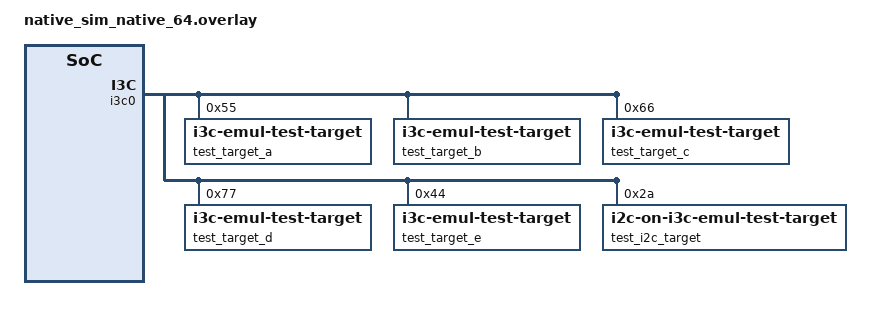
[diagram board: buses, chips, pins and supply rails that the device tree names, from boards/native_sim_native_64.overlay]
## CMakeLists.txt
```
# Copyright (c) 2026 Meta Platforms
# SPDX-License-Identifier: Apache-2.0

cmake_minimum_required(VERSION 3.20.0)
find_package(Zephyr REQUIRED HINTS $ENV{ZEPHYR_BASE})
project(i3c_emul)

target_sources(app PRIVATE
  src/test_core.c
  src/test_ccc.c
  src/test_target_emul.c
  src/i2c_test_target_emul.c
)
target_sources_ifdef(CONFIG_I3C_USE_IBI app PRIVATE src/test_ibi.c)
target_sources_ifdef(CONFIG_I3C_CALLBACK app PRIVATE src/test_async.c)
target_sources_ifdef(CONFIG_I3C_TARGET app PRIVATE
  src/test_target.c
  src/test_controller_handoff.c
)
target_include_directories(app PRIVATE src)
```

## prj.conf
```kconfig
# Copyright (c) 2026 Meta Platforms
# SPDX-License-Identifier: Apache-2.0

CONFIG_ZTEST=y
CONFIG_I2C=y
CONFIG_I2C_EMUL=y
CONFIG_I3C=y
CONFIG_I3C_DUAL_ROLE=y
CONFIG_I3C_USE_IBI=y
CONFIG_I3C_IBI_WORKQUEUE=y
CONFIG_I3C_IBI_MAX_PAYLOAD_SIZE=8
CONFIG_I3C_CALLBACK=y
CONFIG_I3C_RTIO=y
CONFIG_I3C_EMUL=y
CONFIG_EMUL=y
CONFIG_RTIO=y

# Heap for k_malloc — i3c_emul's broadcast DEFTGTS handler does
# k_malloc(payload->ccc.data_len) to stash a deep copy used by the
# handoff path. Without an explicit pool the default of 0 makes
# k_malloc return NULL and DEFTGTS-dependent tests fail.
CONFIG_HEAP_MEM_POOL_SIZE=4096
```

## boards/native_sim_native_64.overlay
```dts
/*
 * Copyright (c) 2026 Meta Platforms
 * SPDX-License-Identifier: Apache-2.0
 */

&i3c0 {
	/*
	 * Self-DA for the bus controller's target-mode endpoint.
	 * Intentionally equal to target_a's DA (which DAA assigns to
	 * 0x55 from its static_addr). The target-mode handoff tests
	 * use this aliasing: i3c_target_register() takes precedence
	 * over the peripheral, so GETACCCR addressed to peripheral A
	 * (via i3c_device_controller_handoff(desc_a, ...)) routes to
	 * the registered target_cfg in the test instead.
	 */
	primary-controller-da = <0x55>;

	test_target_a: target_a@550000123412345678 {
		compatible = "zephyr,i3c-emul-test-target";
		reg = <0x55 0x1234 0x12345678>;
		bcr = <0x00>;
		dcr = <0x6c>;
	};

	test_target_b: target_b@5678abcdef01 {
		compatible = "zephyr,i3c-emul-test-target";
		reg = <0x00 0x5678 0xabcdef01>;
		assigned-address = <0x42>;
		bcr = <0x00>;
		dcr = <0x6c>;
	};

	/*
	 * SETAASA-capable target. Has a static_addr and the
	 * supports-setaasa flag, so i3c_bus_init issues SETAASA
	 * (instead of SETDASA) and the peripheral self-assigns
	 * static_addr -> dynamic_addr in response.
	 */
	test_target_c: target_c@660000111222334455 {
		compatible = "zephyr,i3c-emul-test-target";
		reg = <0x66 0x1112 0x22334455>;
		supports-setaasa;
		bcr = <0x00>;
		dcr = <0x6c>;
	};

	/*
	 * HDR-DDR-capable target. BCR bit 5 (Advanced Capabilities)
	 * is set so the controller knows GETCAPS / HDR are supported.
	 * supports-hdr-ddr makes the peripheral advertise the bit in
	 * its GETCAPS Format 1 response and accept HDR-DDR private
	 * xfers (after the controller broadcasts ENTHDR0).
	 */
	test_target_d: target_d@7700009999aabbccdd {
		compatible = "zephyr,i3c-emul-test-target";
		reg = <0x77 0x9999 0xaabbccdd>;
		supports-hdr-ddr;
		bcr = <0x20>;
		dcr = <0x6c>;
	};

	/*
	 * Advanced-capabilities target that does NOT support HDR-DDR.
	 * BCR bit 5 is set (so a controller knows GETCAPS is meaningful),
	 * but the GETCAPS response carries no HDR-mode bits. Used to
	 * verify the bus emulator gates HDR-DDR on the cached GETCAPS
	 * bit and not just BCR.
	 */
	test_target_e: target_e@440000111122334456 {
		compatible = "zephyr,i3c-emul-test-target";
		reg = <0x44 0x1111 0x22334456>;
		bcr = <0x20>;
		dcr = <0x6c>;
	};

	/*
	 * Legacy-I2C-on-I3C peripheral. reg = <addr 0 lvr> per the
	 * i3c subsystem's i2c-device convention; the bus emulator
	 * routes its i2c_api.transfer to this node's standard
	 * struct i2c_emul, same as an i2c sensor emul would under
	 * a zephyr,i2c-emul-controller parent.
	 */
	test_i2c_target: i2c-target@2a0000000000000000 {
		compatible = "zephyr,i2c-on-i3c-emul-test-target";
		reg = <0x2a 0x00 0x00>;
	};
};
```

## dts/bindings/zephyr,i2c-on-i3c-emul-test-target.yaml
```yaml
# Copyright (c) 2026 Meta Platforms
# SPDX-License-Identifier: Apache-2.0

description: |
  Synthetic legacy-I2C peripheral that hangs off a
  zephyr,i3c-emul bus, used to verify the I3C emulator's
  i2c_api.transfer routes to a standard struct i2c_emul peripheral
  the same way an in-tree i2c sensor emul (BMI160, AKM09918C, ...)
  would when reparented under an I3C bus.

  reg follows the i3c subsystem's i2c-device convention:
  reg = <addr 0 lvr>. The middle zero is what
  I3C_I2C_DEVICE_DESC_DT_FILTERED looks at to flag this as a legacy
  I2C device.

compatible: "zephyr,i2c-on-i3c-emul-test-target"

include: i2c-device.yaml
```

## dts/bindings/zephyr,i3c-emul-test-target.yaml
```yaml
# Copyright (c) 2026 Meta Platforms
# SPDX-License-Identifier: Apache-2.0

description: |
  Synthetic I3C peripheral used by tests/drivers/i3c/i3c_emul to exercise the
  Zephyr I3C emulator. The peripheral lives entirely inside the test directory
  and exposes a 32-byte register file plus configurable PID/BCR/DCR.

compatible: "zephyr,i3c-emul-test-target"

include: i3c-device.yaml

properties:
  bcr:
    type: int
    default: 0

  dcr:
    type: int
    default: 0

  supports-hdr-ddr:
    type: boolean
    description: |
      The synthetic peripheral advertises HDR-DDR support in its
      GETCAPS Format 1 response and accepts HDR-DDR private xfers.
```

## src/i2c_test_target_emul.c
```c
/*
 * Copyright (c) 2026 Meta Platforms
 *
 * SPDX-License-Identifier: Apache-2.0
 *
 * Tiny legacy-i2c-on-i3c peripheral emulator. Uses the standard
 * struct i2c_emul_api shape that any in-tree i2c sensor emul (BMI160,
 * AKM09918C, ...) implements. This proves an existing i2c emul sensor
 * can be reparented from a zephyr,i2c-emul-controller to a
 * zephyr,i3c-emul without any sensor-side changes.
 */

#define DT_DRV_COMPAT zephyr_i2c_on_i3c_emul_test_target

#include <zephyr/device.h>
#include <zephyr/drivers/emul.h>
#include <zephyr/drivers/i2c.h>
#include <zephyr/drivers/i2c_emul.h>

#include <string.h>

#include "i2c_test_target_emul.h"

#define I2C_TEST_TARGET_REG_SIZE 16U

struct i2c_test_target_data {
	uint8_t regs[I2C_TEST_TARGET_REG_SIZE];
	uint8_t cursor;
};

static int i2c_test_target_transfer(const struct emul *target, struct i2c_msg *msgs,
				    int num_msgs, int addr)
{
	struct i2c_test_target_data *data = target->data;

	ARG_UNUSED(addr);

	for (int i = 0; i < num_msgs; i++) {
		struct i2c_msg *m = &msgs[i];

		if ((m->flags & I2C_MSG_RW_MASK) == I2C_MSG_READ) {
			for (uint32_t j = 0; j < m->len; j++) {
				m->buf[j] = data->regs[data->cursor];
				data->cursor = (data->cursor + 1U) % I2C_TEST_TARGET_REG_SIZE;
			}
		} else {
			if (m->len == 0U) {
				continue;
			}
			data->cursor = m->buf[0] % I2C_TEST_TARGET_REG_SIZE;
			for (uint32_t j = 1; j < m->len; j++) {
				data->regs[data->cursor] = m->buf[j];
				data->cursor = (data->cursor + 1U) % I2C_TEST_TARGET_REG_SIZE;
			}
		}
	}

	return 0;
}

static const struct i2c_emul_api i2c_test_target_api = {
	.transfer = i2c_test_target_transfer,
};

uint8_t i2c_test_target_get_reg(const struct emul *target, uint8_t idx)
{
	struct i2c_test_target_data *data = target->data;

	return data->regs[idx % I2C_TEST_TARGET_REG_SIZE];
}

static int i2c_test_target_init(const struct emul *target, const struct device *parent)
{
	ARG_UNUSED(target);
	ARG_UNUSED(parent);
	return 0;
}

#define I2C_TEST_TARGET_INIT(n)                                                                    \
	static struct i2c_test_target_data i2c_test_target_data_##n;                               \
	DEVICE_DT_INST_DEFINE(n, NULL, NULL, &i2c_test_target_data_##n, NULL, POST_KERNEL,         \
			      CONFIG_APPLICATION_INIT_PRIORITY, NULL);                             \
	EMUL_DT_INST_DEFINE(n, i2c_test_target_init, &i2c_test_target_data_##n, NULL,              \
			    &i2c_test_target_api, NULL);

DT_INST_FOREACH_STATUS_OKAY(I2C_TEST_TARGET_INIT)
```

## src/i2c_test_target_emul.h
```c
/*
 * Copyright (c) 2026 Meta Platforms
 *
 * SPDX-License-Identifier: Apache-2.0
 */
#ifndef TEST_DRIVERS_I3C_I3C_EMUL_I2C_TEST_TARGET_EMUL_H_
#define TEST_DRIVERS_I3C_I3C_EMUL_I2C_TEST_TARGET_EMUL_H_

#include <stdint.h>

#include <zephyr/drivers/emul.h>

uint8_t i2c_test_target_get_reg(const struct emul *target, uint8_t idx);

#endif /* TEST_DRIVERS_I3C_I3C_EMUL_I2C_TEST_TARGET_EMUL_H_ */
```

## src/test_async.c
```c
/*
 * Copyright (c) 2026 Meta Platforms
 *
 * SPDX-License-Identifier: Apache-2.0
 *
 * M4 async + RTIO tests for the I3C emulator.
 */

#include <zephyr/devicetree.h>
#include <zephyr/drivers/emul.h>
#include <zephyr/drivers/i3c.h>
#include <zephyr/drivers/i3c/ccc.h>
#include <zephyr/drivers/i3c_emul.h>
#include <zephyr/kernel.h>
#include <zephyr/rtio/rtio.h>
#include <zephyr/sys/byteorder.h>
#include <zephyr/ztest.h>

#include "test_target_emul.h"

#define I3C_BUS DT_NODELABEL(i3c0)
#define TARGET_A DT_NODELABEL(test_target_a)

#define TARGET_A_PID	TEST_TARGET_A_PID

static const struct device *bus = DEVICE_DT_GET(I3C_BUS);

static struct i3c_device_desc *find_desc(uint64_t pid)
{
	struct i3c_device_id id = { .pid = pid };

	return i3c_device_find(bus, &id);
}

static void *i3c_emul_async_setup(void)
{
	int rc = test_target_bus_known_state(bus, TEST_TARGET_A_PID, TEST_TARGET_A_STATIC,
					     TEST_TARGET_B_PID, TEST_TARGET_B_INIT_DA);

	zassert_ok(rc, "test_target_bus_known_state: %d", rc);
	return NULL;
}

#ifdef CONFIG_I3C_CALLBACK
static struct {
	struct k_sem sem;
	int result;
	void *userdata;
	const struct device *dev;
} g_cb;

static void async_cb(const struct device *dev, int result, void *userdata)
{
	g_cb.dev = dev;
	g_cb.result = result;
	g_cb.userdata = userdata;
	k_sem_give(&g_cb.sem);
}

ZTEST(i3c_emul_async, test_xfers_cb_fires_on_completion)
{
	struct i3c_device_desc *desc = find_desc(TARGET_A_PID);
	uint8_t buf[3] = {0x00, 0xAB, 0xCD};
	struct i3c_msg msg = {
		.buf = buf,
		.len = sizeof(buf),
		.flags = I3C_MSG_WRITE | I3C_MSG_STOP,
	};
	uint32_t marker = 0xDEADBEEFU;
	int rc;

	k_sem_init(&g_cb.sem, 0, 1);

	rc = i3c_transfer_cb(desc, &msg, 1, async_cb, &marker);
	zassert_ok(rc, "i3c_transfer_cb: %d", rc);
	zassert_ok(k_sem_take(&g_cb.sem, K_MSEC(100)), "callback semaphore timeout");
	zassert_equal(g_cb.result, 0, "callback result: %d", g_cb.result);
	zassert_equal(g_cb.userdata, &marker, "userdata propagated");
	zassert_equal(g_cb.dev, bus, "callback dev matches bus");

	zassert_equal(test_target_get_reg(EMUL_DT_GET(TARGET_A), 0), buf[1], "reg[0]");
	zassert_equal(test_target_get_reg(EMUL_DT_GET(TARGET_A), 1), buf[2], "reg[1]");
}

ZTEST(i3c_emul_async, test_do_ccc_cb_fires_on_completion)
{
	struct i3c_device_desc *desc = find_desc(TARGET_A_PID);
	struct i3c_ccc_target_payload tp = {0};
	uint8_t pid_buf[6] = {0};
	struct i3c_ccc_payload payload = {
		.ccc = { .id = I3C_CCC_GETPID },
		.targets = { .payloads = &tp, .num_targets = 1 },
	};
	int rc;

	tp.addr = desc->dynamic_addr;
	tp.rnw = 1;
	tp.data = pid_buf;
	tp.data_len = sizeof(pid_buf);

	k_sem_init(&g_cb.sem, 0, 1);

	rc = i3c_do_ccc_cb(bus, &payload, async_cb, NULL);
	zassert_ok(rc, "i3c_do_ccc_cb: %d", rc);
	zassert_ok(k_sem_take(&g_cb.sem, K_MSEC(100)), "callback timeout");
	zassert_equal(g_cb.result, 0, "callback result: %d", g_cb.result);
	zassert_equal(sys_get_be48(pid_buf), TARGET_A_PID, "PID mismatch");
}
#endif /* CONFIG_I3C_CALLBACK */

#ifdef CONFIG_I3C_RTIO
I3C_DT_IODEV_DEFINE(rtio_iodev, DT_NODELABEL(test_target_a));
RTIO_DEFINE(rtio_ctx, 4, 4);

ZTEST(i3c_emul_async, test_rtio_iodev_submit_round_trip)
{
	uint8_t write_buf[3] = {0x00, 0x55, 0x66};
	struct rtio_sqe *sqe;
	struct rtio_cqe *cqe;
	int rc;

	sqe = rtio_sqe_acquire(&rtio_ctx);
	zassert_not_null(sqe, "sqe alloc");
	rtio_sqe_prep_write(sqe, &rtio_iodev, RTIO_PRIO_NORM, write_buf, sizeof(write_buf), NULL);
	sqe->iodev_flags = RTIO_IODEV_I3C_STOP;

	rc = rtio_submit(&rtio_ctx, 1);
	zassert_ok(rc, "rtio_submit: %d", rc);

	cqe = rtio_cqe_consume_block(&rtio_ctx);
	zassert_not_null(cqe, "cqe");
	zassert_ok(cqe->result, "cqe result: %d", cqe->result);
	rtio_cqe_release(&rtio_ctx, cqe);

	zassert_equal(test_target_get_reg(EMUL_DT_GET(TARGET_A), 0), write_buf[1], "reg[0]");
	zassert_equal(test_target_get_reg(EMUL_DT_GET(TARGET_A), 1), write_buf[2], "reg[1]");
}
#endif /* CONFIG_I3C_RTIO */

ZTEST_SUITE(i3c_emul_async, NULL, i3c_emul_async_setup, NULL, NULL, NULL);
```

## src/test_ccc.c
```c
/*
 * Copyright (c) 2026 Meta Platforms
 *
 * SPDX-License-Identifier: Apache-2.0
 *
 * M6 CCC coverage tests for the I3C emulator: SETMRL/SETMWL/GETMRL/GETMWL
 * round-trip, GETSTATUS, SETNEWDA, explicit RSTDAA, and DEFTGTS dispatch.
 *
 * The test target peripheral exposes the underlying state via its
 * backend API (test_target_get_mrl, test_target_get_deftgts, ...) so the
 * tests can verify both directions of each CCC.
 */

#include <zephyr/devicetree.h>
#include <zephyr/drivers/emul.h>
#include <zephyr/drivers/i3c.h>
#include <zephyr/drivers/i3c/ccc.h>
#include <zephyr/drivers/i3c_emul.h>
#include <zephyr/kernel.h>
#include <zephyr/sys/byteorder.h>
#include <zephyr/ztest.h>

#include "test_target_emul.h"

#define I3C_BUS DT_NODELABEL(i3c0)
#define TARGET_A DT_NODELABEL(test_target_a)
#define TARGET_B DT_NODELABEL(test_target_b)
#define TARGET_C DT_NODELABEL(test_target_c)
#define TARGET_D DT_NODELABEL(test_target_d)

#define TARGET_A_PID		TEST_TARGET_A_PID
#define TARGET_B_PID		TEST_TARGET_B_PID
#define TARGET_C_PID		TEST_TARGET_C_PID
#define TARGET_D_PID		TEST_TARGET_D_PID

static const struct device *bus = DEVICE_DT_GET(I3C_BUS);
static const struct emul *target_a = EMUL_DT_GET(TARGET_A);
static const struct emul *target_b = EMUL_DT_GET(TARGET_B);
static const struct emul *target_c = EMUL_DT_GET(TARGET_C);

static struct i3c_device_desc *find_desc(uint64_t pid)
{
	struct i3c_device_id id = { .pid = pid };

	return i3c_device_find(bus, &id);
}

static void *ccc_setup(void)
{
	int rc = test_target_bus_known_state(bus, TEST_TARGET_A_PID, TEST_TARGET_A_STATIC,
					     TEST_TARGET_B_PID, TEST_TARGET_B_INIT_DA);

	zassert_ok(rc, "test_target_bus_known_state: %d", rc);
	return NULL;
}

static void ccc_before(void *fixture)
{
	ARG_UNUSED(fixture);

	/* Re-establish the canonical address state so per-test mutations
	 * (RSTDAA, SETNEWDA, ...) don't leak between tests.
	 */
	(void)test_target_bus_known_state(bus, TEST_TARGET_A_PID, TEST_TARGET_A_STATIC,
					  TEST_TARGET_B_PID, TEST_TARGET_B_INIT_DA);
}

ZTEST(i3c_emul_ccc, test_setmwl_getmwl_round_trip)
{
	struct i3c_device_desc *desc = find_desc(TARGET_A_PID);
	struct i3c_ccc_mwl set = { .len = 0x0123 };
	struct i3c_ccc_mwl got = { 0 };
	int rc;

	rc = i3c_ccc_do_setmwl(desc, &set);
	zassert_ok(rc, "SETMWL: %d", rc);
	zassert_equal(test_target_get_mwl(target_a), 0x0123, "peripheral stored MWL");

	rc = i3c_ccc_do_getmwl(desc, &got);
	zassert_ok(rc, "GETMWL: %d", rc);
	zassert_equal(got.len, 0x0123, "GETMWL round-trip");
}

ZTEST(i3c_emul_ccc, test_setmrl_getmrl_round_trip)
{
	struct i3c_device_desc *desc = find_desc(TARGET_A_PID);
	struct i3c_ccc_mrl set = { .len = 0x4567, .ibi_len = 0x08 };
	struct i3c_ccc_mrl got = { 0 };
	int rc;

	/*
	 * GETMRL only requests the ibi_len byte when the peripheral's BCR
	 * advertises IBI payload data. Our DT BCR for target_a is 0x00, so
	 * the controller helper will issue a 2-byte GETMRL and we only
	 * round-trip the length here.
	 */
	rc = i3c_ccc_do_setmrl(desc, &set);
	zassert_ok(rc, "SETMRL: %d", rc);
	zassert_equal(test_target_get_mrl(target_a), 0x4567, "peripheral stored MRL");

	rc = i3c_ccc_do_getmrl(desc, &got);
	zassert_ok(rc, "GETMRL: %d", rc);
	zassert_equal(got.len, 0x4567, "GETMRL round-trip");
}

ZTEST(i3c_emul_ccc, test_setmwl_broadcast_reaches_every_target)
{
	struct i3c_ccc_mwl set = { .len = 0xBEEF };
	int rc;

	rc = i3c_ccc_do_setmwl_all(bus, &set);
	zassert_ok(rc, "broadcast SETMWL: %d", rc);
	zassert_equal(test_target_get_mwl(target_a), 0xBEEF, "A stored MWL");
	zassert_equal(test_target_get_mwl(target_b), 0xBEEF, "B stored MWL");
	zassert_equal(test_target_get_mwl(target_c), 0xBEEF, "C stored MWL");
}

ZTEST(i3c_emul_ccc, test_setmrl_broadcast_reaches_every_target)
{
	struct i3c_ccc_mrl set = { .len = 0xCAFE, .ibi_len = 0x05 };
	int rc;

	rc = i3c_ccc_do_setmrl_all(bus, &set, false);
	zassert_ok(rc, "broadcast SETMRL: %d", rc);
	zassert_equal(test_target_get_mrl(target_a), 0xCAFE, "A stored MRL");
	zassert_equal(test_target_get_mrl(target_b), 0xCAFE, "B stored MRL");
	zassert_equal(test_target_get_mrl(target_c), 0xCAFE, "C stored MRL");
}

ZTEST(i3c_emul_ccc, test_getbcr_returns_dt_configured_value)
{
	struct i3c_device_desc *desc = find_desc(TARGET_A_PID);
	struct i3c_ccc_getbcr got = { 0 };
	int rc;

	zassert_not_null(desc, "target A desc");

	rc = i3c_ccc_do_getbcr(desc, &got);
	zassert_ok(rc, "GETBCR: %d", rc);
	zassert_equal(got.bcr, 0x00, "BCR matches DT (target_a bcr = 0x00)");
}

ZTEST(i3c_emul_ccc, test_getdcr_returns_dt_configured_value)
{
	struct i3c_device_desc *desc = find_desc(TARGET_A_PID);
	struct i3c_ccc_getdcr got = { 0 };
	int rc;

	zassert_not_null(desc, "target A desc");

	rc = i3c_ccc_do_getdcr(desc, &got);
	zassert_ok(rc, "GETDCR: %d", rc);
	zassert_equal(got.dcr, 0x6c, "DCR matches DT (target_a dcr = 0x6c)");
}

ZTEST(i3c_emul_ccc, test_getstatus_returns_poked_value)
{
	struct i3c_device_desc *desc = find_desc(TARGET_A_PID);
	union i3c_ccc_getstatus got = { 0 };
	int rc;

	test_target_set_status_fmt1(target_a, 0xCAFE);

	rc = i3c_ccc_do_getstatus_fmt1(desc, &got);
	zassert_ok(rc, "GETSTATUS: %d", rc);
	zassert_equal(got.fmt1.status, 0xCAFE, "status round-trip");

	test_target_set_status_fmt1(target_a, 0);
}

ZTEST(i3c_emul_ccc, test_setnewda_changes_dynamic_addr)
{
	struct i3c_device_desc *desc = find_desc(TARGET_A_PID);
	const uint8_t new_addr = 0x33;
	int rc;

	rc = i3c_bus_setnewda(desc, new_addr);
	zassert_ok(rc, "SETNEWDA: %d", rc);
	zassert_equal(desc->dynamic_addr, new_addr, "desc dyn addr updated");
	zassert_equal(test_target_get_dynamic_addr(target_a), new_addr,
		      "peripheral mirror updated");

	/* No restore here — the suite's per-test before-hook re-establishes
	 * the canonical address state for whichever test runs next.
	 */
}

ZTEST(i3c_emul_ccc, test_rstdaa_clears_addresses)
{
	struct i3c_device_desc *desc_a = find_desc(TARGET_A_PID);
	struct i3c_device_desc *desc_b = find_desc(TARGET_B_PID);
	int rc;

	zassert_not_equal(desc_a->dynamic_addr, 0U, "precondition: A has dyn addr");
	zassert_not_equal(desc_b->dynamic_addr, 0U, "precondition: B has dyn addr");

	rc = i3c_bus_rstdaa_all(bus);
	zassert_ok(rc, "RSTDAA: %d", rc);

	zassert_equal(desc_a->dynamic_addr, 0U, "A dyn addr cleared");
	zassert_equal(desc_b->dynamic_addr, 0U, "B dyn addr cleared");
	zassert_equal(test_target_get_dynamic_addr(target_a), 0U, "A peripheral mirror cleared");
	zassert_equal(test_target_get_dynamic_addr(target_b), 0U, "B peripheral mirror cleared");

	/* No restore here — the suite's per-test before-hook re-establishes
	 * the canonical address state for whichever test runs next.
	 */
}

ZTEST(i3c_emul_ccc, test_deftgts_broadcast_reaches_peripherals)
{
	int rc;
	uint8_t buf[64];
	size_t n;

	test_target_clear_deftgts(target_a);
	test_target_clear_deftgts(target_b);

	rc = i3c_bus_deftgts(bus);
	zassert_ok(rc, "i3c_bus_deftgts: %d", rc);

	zassert_true(test_target_deftgts_was_seen(target_a), "A saw DEFTGTS");
	zassert_true(test_target_deftgts_was_seen(target_b), "B saw DEFTGTS");

	n = test_target_get_deftgts(target_a, buf, sizeof(buf));
	zassert_true(n > 0U, "DEFTGTS payload non-empty (got %zu)", n);

	/*
	 * Wire layout (drivers/i3c/i3c_common.c::i3c_bus_deftgts builds it,
	 * i3c_ccc_do_deftgts_all sends it as ccc.data):
	 *   buf[0]                  = count of targets
	 *   buf[1..1+sizeof(active_controller)] = active controller descriptor
	 *   then count * sizeof(target descriptor)
	 *
	 * count must be the number of attached I3C + I2C devices on this
	 * bus. The test overlay declares five I3C targets (A, B, C, D, E)
	 * plus one legacy-I2C-on-I3C target, so count is 6.
	 */
	zassert_equal(buf[0], 6U, "DEFTGTS count = num attached, got %u", buf[0]);
}

ZTEST(i3c_emul_ccc, test_setaasa_promotes_only_setaasa_capable_targets)
{
	struct i3c_device_desc *desc_a = find_desc(TARGET_A_PID);
	struct i3c_device_desc *desc_c = find_desc(TARGET_C_PID);
	int rc;

	zassert_not_null(desc_a, "target A desc");
	zassert_not_null(desc_c, "target C desc");

	/*
	 * Spec model:
	 *  - Target A has a static_addr but does NOT advertise supports-setaasa.
	 *    SETAASA must NOT promote it (the peripheral NACKs because the
	 *    framework only treats descs with the supports-setaasa flag as
	 *    SETAASA-capable, but the peripheral check is independent).
	 *  - Target C has static_addr=0x66 AND supports-setaasa. After
	 *    RSTDAA-all + i3c_bus_setaasa(), C's dyn_addr must equal its
	 *    static_addr both in its desc and in the peripheral mirror.
	 */
	rc = i3c_bus_rstdaa_all(bus);
	zassert_ok(rc, "RSTDAA: %d", rc);
	zassert_equal(desc_a->dynamic_addr, 0U, "RSTDAA cleared A");
	zassert_equal(desc_c->dynamic_addr, 0U, "RSTDAA cleared C");

	rc = i3c_bus_setaasa(bus);
	zassert_ok(rc, "SETAASA: %d", rc);

	zassert_equal(desc_c->dynamic_addr, TEST_TARGET_C_STATIC,
		      "C desc promoted by SETAASA");
	zassert_equal(test_target_get_dynamic_addr(target_c), TEST_TARGET_C_STATIC,
		      "C peripheral self-assigned static_addr -> dynamic_addr");

	zassert_equal(desc_a->dynamic_addr, 0U,
		      "A desc not promoted (no supports-setaasa flag)");
	zassert_equal(test_target_get_dynamic_addr(target_a), 0U,
		      "A peripheral did not self-assign");

	/* Per-test before-hook restores the canonical address state. */
}

ZTEST(i3c_emul_ccc, test_getcaps_fmt1_returns_dt_advertised_caps)
{
	struct i3c_device_desc *desc = find_desc(TARGET_D_PID);
	union i3c_ccc_getcaps got = { 0 };
	int rc;

	zassert_not_null(desc, "target D desc");

	/*
	 * GETCAPS Format 1 returns 1-4 bytes of capability flags.
	 * target_d's DT advertises HDR-DDR via supports-hdr-ddr; byte 0
	 * bit 0 must be set in the response.
	 */
	rc = i3c_ccc_do_getcaps(desc, &got, GETCAPS_FORMAT_1, GETCAPS_FORMAT_2_INVALID);
	zassert_ok(rc, "GETCAPS fmt1: %d", rc);
	zassert_true(got.fmt1.getcaps[0] & I3C_CCC_GETCAPS1_HDR_DDR,
		     "target D advertises HDR-DDR in DT");
}

ZTEST_SUITE(i3c_emul_ccc, NULL, ccc_setup, ccc_before, NULL, NULL);
```

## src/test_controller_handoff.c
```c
/*
 * Copyright (c) 2026 Meta Platforms
 *
 * SPDX-License-Identifier: Apache-2.0
 *
 * Controller-handoff tests for the I3C emulator. Split from
 * test_target.c so the more elaborate (and more likely to flake)
 * handoff scenarios stay isolated from the simpler write/read/FIFO
 * coverage in i3c_emul_target.
 */

#include <zephyr/devicetree.h>
#include <zephyr/drivers/emul.h>
#include <zephyr/drivers/i3c.h>
#include <zephyr/drivers/i3c/target_device.h>
#include <zephyr/kernel.h>
#include <zephyr/sys/atomic.h>
#include <zephyr/ztest.h>

#include <string.h>

#include "test_target_emul.h"

#define I3C_BUS DT_NODELABEL(i3c0)

#define TARGET_A_PID		TEST_TARGET_A_PID

static const struct device *bus = DEVICE_DT_GET(I3C_BUS);

static struct i3c_device_desc *find_desc(uint64_t pid)
{
	struct i3c_device_id id = { .pid = pid };

	return i3c_device_find(bus, &id);
}

static struct {
	atomic_t handoff;
} g;

static int cb_handoff(struct i3c_target_config *cfg)
{
	ARG_UNUSED(cfg);
	atomic_inc(&g.handoff);
	return 0;
}

static const struct i3c_target_callbacks tcb = {
	.controller_handoff_cb = cb_handoff,
};

static struct i3c_target_config tcfg = {
	.callbacks = &tcb,
};

static void *handoff_setup(void)
{
	int rc = test_target_bus_known_state(bus, TEST_TARGET_A_PID, TEST_TARGET_A_STATIC,
					     TEST_TARGET_B_PID, TEST_TARGET_B_INIT_DA);

	zassert_ok(rc, "test_target_bus_known_state: %d", rc);
	return NULL;
}

static void handoff_before(void *fixture)
{
	ARG_UNUSED(fixture);
	atomic_set(&g.handoff, 0);

	/*
	 * Re-establish the canonical address state — earlier handoff
	 * tests (RSTDAA, sec_handoffed re-attach) can leave the bus in
	 * a different shape than they found it.
	 */
	(void)test_target_bus_known_state(bus, TEST_TARGET_A_PID, TEST_TARGET_A_STATIC,
					  TEST_TARGET_B_PID, TEST_TARGET_B_INIT_DA);
}

ZTEST(i3c_emul_controller_handoff, test_controller_handoff_accept_records)
{
	int rc;

	/*
	 * i3c_target_controller_handoff(true) only stores the application's
	 * willingness to accept a future handoff. It does NOT itself fire
	 * controller_handoff_cb (real drivers fire that callback only when
	 * the wire-level handoff actually completes — see i3c_dw.c and
	 * i3c_cdns.c). Without a controller-side GETACCCR, the cb stays
	 * silent.
	 */
	rc = i3c_target_register(bus, &tcfg);
	zassert_ok(rc, "target_register: %d", rc);

	rc = i3c_target_controller_handoff(bus, true);
	zassert_ok(rc, "handoff(true): %d", rc);
	zassert_equal(atomic_get(&g.handoff), 0,
		      "handoff cb must not fire from the API call alone");

	rc = i3c_target_controller_handoff(bus, false);
	zassert_ok(rc, "handoff(false): %d", rc);
	zassert_equal(atomic_get(&g.handoff), 0, "handoff cb still silent on nack");

	(void)i3c_target_unregister(bus, &tcfg);
}

ZTEST(i3c_emul_controller_handoff, test_handoff_completes_on_getacccr_to_registered_target)
{
	struct i3c_config_target out_cfg = { 0 };
	struct i3c_device_desc *desc_a;
	int rc;

	/*
	 * Spec model:
	 * - Application brings the device's dynamic address up the proper
	 *   way (SETDASA / DAA), then registers as a target at that same
	 *   address. The bus emulator now routes CCCs at that address to
	 *   the application's target_cfg instead of the peripheral emul.
	 * - Application opts in via i3c_target_controller_handoff(true).
	 * - Active controller initiates handoff via
	 *   i3c_device_controller_handoff(desc, true), which issues
	 *   GETACCCR at the address.
	 * - The bus emulator detects "GETACCCR addressed to a registered
	 *   target_cfg with handoff_accept set", replies parity-correctly,
	 *   fires controller_handoff_cb, and flips
	 *   target_config.enabled = false (we are the active controller
	 *   now, not a target).
	 *
	 * The bus controller's self-DA is set from DT (primary-controller-da)
	 * to the same address that target A's DAA-assigned DA lands at, so
	 * i3c_target_register() intercepts CCCs targeted at that address.
	 */
	desc_a = find_desc(TARGET_A_PID);
	zassert_not_null(desc_a, "target A desc");
	zassert_not_equal(desc_a->dynamic_addr, 0U,
			  "before-hook should have established target A's DA");

	rc = i3c_target_register(bus, &tcfg);
	zassert_ok(rc, "target_register at 0x%02x: %d", desc_a->dynamic_addr, rc);

	rc = i3c_config_get(bus, I3C_CONFIG_TARGET, &out_cfg);
	zassert_ok(rc, "config_get: %d", rc);
	zassert_true(out_cfg.enabled, "registering as target should set enabled");

	rc = i3c_target_controller_handoff(bus, true);
	zassert_ok(rc, "handoff(true): %d", rc);

	rc = i3c_device_controller_handoff(desc_a, true);
	zassert_ok(rc, "i3c_device_controller_handoff: %d", rc);

	zassert_equal(atomic_get(&g.handoff), 1,
		      "controller_handoff_cb fires on completed handoff");

	rc = i3c_config_get(bus, I3C_CONFIG_TARGET, &out_cfg);
	zassert_ok(rc, "config_get post-handoff: %d", rc);
	zassert_false(out_cfg.enabled,
		      "after handoff completes, the new active controller is no "
		      "longer behaving as a target");

	(void)i3c_target_unregister(bus, &tcfg);
}

ZTEST(i3c_emul_controller_handoff, test_handoff_nacked_by_application_fails)
{
	struct i3c_device_desc *desc_a;
	int rc;

	/* Same setup as the accept test, but the application explicitly
	 * NACKs the handoff offer. The controller-side initiation must
	 * fail and the callback must stay silent.
	 */
	desc_a = find_desc(TARGET_A_PID);
	zassert_not_null(desc_a, "target A desc");
	zassert_not_equal(desc_a->dynamic_addr, 0U,
			  "before-hook should have established target A's DA");

	rc = i3c_target_register(bus, &tcfg);
	zassert_ok(rc, "target_register: %d", rc);

	rc = i3c_target_controller_handoff(bus, false);
	zassert_ok(rc, "handoff(false): %d", rc);

	rc = i3c_device_controller_handoff(desc_a, true);
	zassert_not_equal(rc, 0,
			  "controller-side handoff must fail when the target NACKs");
	zassert_equal(atomic_get(&g.handoff), 0, "callback must stay silent on NACK");

	(void)i3c_target_unregister(bus, &tcfg);
}

ZTEST(i3c_emul_controller_handoff, test_controller_handoff_to_peripheral_via_getacccr)
{
	struct i3c_device_desc *desc;
	int rc;

	/*
	 * No target_cfg registered at desc->dynamic_addr — the GETACCCR
	 * routes to the registered peripheral emul, which replies
	 * parity-correctly. This is the "controller initiates handoff
	 * to a secondary controller it knows about, but no application
	 * on this device is acting as that target" scenario; the bus
	 * emulator's CCC dispatch + the peripheral's GETACCCR responder
	 * are what get exercised.
	 */
	desc = find_desc(TARGET_A_PID);
	zassert_not_null(desc, "target A desc");
	zassert_not_equal(desc->dynamic_addr, 0U,
			  "before-hook should have established target A's DA");

	rc = i3c_device_controller_handoff(desc, true);
	zassert_ok(rc, "i3c_device_controller_handoff: %d", rc);
}

ZTEST(i3c_emul_controller_handoff, test_handoff_completes_and_sec_handoffed_repopulates_bus)
{
#if !defined(CONFIG_I3C_USE_IBI) || !defined(CONFIG_I3C_IBI_WORKQUEUE)
	ztest_test_skip();
#else
	struct i3c_device_desc *desc_a;
	struct i3c_device_desc *desc;
	int n_attached;
	int rc;

	/*
	 * End-to-end secondary-controller handoff:
	 *  1. As the active controller, broadcast DEFTGTS — peripherals
	 *     receive it AND the bus emulator stores a (de-shifted) deep
	 *     copy in data->common.deftgts because a target_cfg is
	 *     registered.
	 *  2. Active controller initiates handoff via GETACCCR direct CCC
	 *     at the registered target_cfg's address.
	 *  3. Bus emulator's GETACCCR-to-target_cfg interception replies
	 *     parity-correctly, fires controller_handoff_cb, flips
	 *     target_config.enabled = false, and enqueues
	 *     i3c_sec_handoffed on the IBI workqueue.
	 *  4. i3c_sec_handoffed runs: i3c_sec_bus_reset detaches all descs,
	 *     then for each entry in data->common.deftgts it calls
	 *     i3c_sec_get_basic_info, which attaches a temp_desc and
	 *     issues GETPID. The bus emulator's wire-level dynamic-address
	 *     fallback finds the peripheral, GETPID returns the right PID,
	 *     the framework looks up the static desc by PID and re-attaches
	 *     it, and this driver's PID-keyed attach hook re-links
	 *     desc->controller_priv.
	 *
	 * After the workqueue drains, every desc in DEFTGTS should be
	 * re-attached and have controller_priv set, proving the device-now-
	 * acting-as-active-controller can immediately drive the bus.
	 */
	desc_a = find_desc(TARGET_A_PID);
	zassert_not_null(desc_a, "target A desc");
	zassert_not_equal(desc_a->dynamic_addr, 0U,
			  "before-hook should have established target A's DA");

	rc = i3c_target_register(bus, &tcfg);
	zassert_ok(rc, "target_register: %d", rc);

	rc = i3c_target_controller_handoff(bus, true);
	zassert_ok(rc, "handoff(true): %d", rc);

	rc = i3c_bus_deftgts(bus);
	zassert_ok(rc, "i3c_bus_deftgts: %d", rc);

	rc = i3c_device_controller_handoff(desc_a, true);
	zassert_ok(rc, "i3c_device_controller_handoff: %d", rc);

	zassert_equal(atomic_get(&g.handoff), 1, "controller_handoff_cb fired");

	/*
	 * Wait for the IBI workqueue to run i3c_sec_handoffed and re-attach
	 * descs from DEFTGTS. Poll the bus list for the first desc whose
	 * controller_priv is non-NULL — that's the observable condition,
	 * no arbitrary sleep needed.
	 */
	bool any_relinked = false;

	zassert_true(WAIT_FOR(({
		any_relinked = false;
		I3C_BUS_FOR_EACH_I3CDEV(bus, desc) {
			if (desc->controller_priv != NULL) {
				any_relinked = true;
				break;
			}
		}
		any_relinked;
	}), USEC_PER_MSEC * 100, k_msleep(1)),
		     "i3c_sec_handoffed did not re-attach within 100ms");

	n_attached = 0;
	I3C_BUS_FOR_EACH_I3CDEV(bus, desc) {
		n_attached++;
		zassert_not_null((void *)desc->controller_priv,
				 "desc 0x%02x relinked after handoff", desc->dynamic_addr);
	}
	zassert_true(n_attached >= 1,
		     "expected at least one desc re-attached from DEFTGTS, got %d", n_attached);

	(void)i3c_target_unregister(bus, &tcfg);
#endif
}

ZTEST_SUITE(i3c_emul_controller_handoff, NULL, handoff_setup, handoff_before, NULL, NULL);
```

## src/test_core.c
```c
/*
 * Copyright (c) 2026 Meta Platforms
 *
 * SPDX-License-Identifier: Apache-2.0
 *
 * M2 core tests for the I3C emulator: attach, DAA, private xfers, CCCs, and
 * the mock_api fault-injection slot.
 */

#include <zephyr/devicetree.h>
#include <zephyr/drivers/emul.h>
#include <zephyr/drivers/i2c.h>
#include <zephyr/drivers/i3c.h>
#include <zephyr/drivers/i3c/ccc.h>
#include <zephyr/drivers/i3c_emul.h>
#include <zephyr/kernel.h>
#include <zephyr/sys/byteorder.h>
#include <zephyr/ztest.h>

#include "i2c_test_target_emul.h"
#include "test_target_emul.h"

#define I3C_BUS DT_NODELABEL(i3c0)
#define TARGET_A DT_NODELABEL(test_target_a)
#define TARGET_B DT_NODELABEL(test_target_b)
#define TARGET_D DT_NODELABEL(test_target_d)
#define TARGET_E DT_NODELABEL(test_target_e)
#define TARGET_I2C DT_NODELABEL(test_i2c_target)

#define TARGET_A_PID		TEST_TARGET_A_PID
#define TARGET_B_PID		TEST_TARGET_B_PID
#define TARGET_B_INIT_DA	TEST_TARGET_B_INIT_DA
#define TARGET_D_PID		TEST_TARGET_D_PID
#define TARGET_E_PID		TEST_TARGET_E_PID

static const struct device *bus = DEVICE_DT_GET(I3C_BUS);
static const struct emul *target_a = EMUL_DT_GET(TARGET_A);
static const struct emul *target_b = EMUL_DT_GET(TARGET_B);
static const struct emul *target_d = EMUL_DT_GET(TARGET_D);

static struct i3c_device_desc *find_desc(uint64_t pid)
{
	struct i3c_device_id id = { .pid = pid };

	return i3c_device_find(bus, &id);
}

ZTEST(i3c_emul_core, test_attach_and_setdasa_static_to_dynamic)
{
	struct i3c_device_desc *desc = find_desc(TARGET_A_PID);

	zassert_not_null(desc, "device desc for target A must exist");
	zassert_equal(desc->static_addr, TEST_TARGET_A_STATIC,
		      "static addr expected 0x%02x", TEST_TARGET_A_STATIC);
	zassert_equal(desc->dynamic_addr, TEST_TARGET_A_STATIC,
		      "i3c_bus_init should have promoted static addr to dynamic via SETDASA");
	zassert_equal(test_target_get_dynamic_addr(target_a), TEST_TARGET_A_STATIC,
		      "peripheral should know its dynamic addr");
}

ZTEST(i3c_emul_core, test_do_daa_respects_init_dynamic_addr)
{
	struct i3c_device_desc *desc = find_desc(TARGET_B_PID);

	zassert_not_null(desc, "device desc for target B must exist");
	zassert_equal(desc->static_addr, 0x00, "target B has no static addr");
	zassert_equal(desc->dynamic_addr, TARGET_B_INIT_DA,
		      "DAA should honour assigned-address property");
	zassert_equal(test_target_get_dynamic_addr(target_b), TARGET_B_INIT_DA,
		      "peripheral mirror should match");
}

ZTEST(i3c_emul_core, test_xfers_routes_by_dynamic_addr)
{
	struct i3c_device_desc *desc = find_desc(TARGET_A_PID);
	uint8_t write_buf[3] = {0x00, 0xAA, 0xBB};
	uint8_t read_buf[2] = {0};
	int rc;

	zassert_not_null(desc, "desc");

	rc = i3c_write(desc, write_buf, sizeof(write_buf));
	zassert_ok(rc, "i3c_write failed: %d", rc);
	zassert_equal(test_target_get_reg(target_a, 0), write_buf[1], "reg[0] mismatch");
	zassert_equal(test_target_get_reg(target_a, 1), write_buf[2], "reg[1] mismatch");

	uint8_t cursor = 0;

	rc = i3c_write(desc, &cursor, sizeof(cursor));
	zassert_ok(rc, "i3c_write seek failed: %d", rc);
	rc = i3c_read(desc, read_buf, sizeof(read_buf));
	zassert_ok(rc, "i3c_read failed: %d", rc);
	zassert_equal(read_buf[0], write_buf[1], "read[0] mismatch");
	zassert_equal(read_buf[1], write_buf[2], "read[1] mismatch");
}

ZTEST(i3c_emul_core, test_ccc_getpid_round_trip)
{
	struct i3c_device_desc *desc = find_desc(TARGET_A_PID);
	struct i3c_ccc_getpid resp = {0};
	int rc;

	zassert_not_null(desc, "desc");

	rc = i3c_ccc_do_getpid(desc, &resp);
	zassert_ok(rc, "GETPID failed: %d", rc);
	zassert_equal(sys_get_be48(resp.pid), TARGET_A_PID, "PID round-trip mismatch");
}

static int mock_xfers_eio(const struct emul *target, struct i3c_msg *msgs, uint8_t num_msgs)
{
	ARG_UNUSED(target);
	ARG_UNUSED(msgs);
	ARG_UNUSED(num_msgs);
	return -EIO;
}

ZTEST(i3c_emul_core, test_mock_api_returns_eio)
{
	struct i3c_device_desc *desc = find_desc(TARGET_A_PID);
	static struct i3c_emul_api mock = {
		.xfers = mock_xfers_eio,
	};
	uint8_t buf[1] = {0};
	int rc;

	test_target_install_mock(target_a, &mock);

	rc = i3c_write(desc, buf, sizeof(buf));
	zassert_equal(rc, -EIO, "expected mock to return -EIO, got %d", rc);

	test_target_install_mock(target_a, NULL);
}

ZTEST(i3c_emul_core, test_legacy_i2c_on_i3c_routes_via_i2c_api)
{
	const struct emul *i2c_target = EMUL_DT_GET(TARGET_I2C);
	const uint16_t i2c_addr = DT_PROP_BY_IDX(TARGET_I2C, reg, 0);
	uint8_t write_buf[3] = {0x00, 0x77, 0x88};
	uint8_t read_buf[2] = {0};
	uint8_t cursor = 0;
	int rc;

	/*
	 * Drive the bus's i2c_api.transfer at a legacy-i2c-on-i3c address.
	 * The peripheral implements struct i2c_emul_api the same way every
	 * in-tree i2c sensor emul does, so this proves an existing i2c
	 * sensor emul could be reparented under our i3c emul controller
	 * without sensor-side changes.
	 */
	rc = i2c_write(bus, write_buf, sizeof(write_buf), i2c_addr);
	zassert_ok(rc, "i2c_write failed: %d", rc);
	zassert_equal(i2c_test_target_get_reg(i2c_target, 0), write_buf[1], "reg[0]");
	zassert_equal(i2c_test_target_get_reg(i2c_target, 1), write_buf[2], "reg[1]");

	rc = i2c_write(bus, &cursor, sizeof(cursor), i2c_addr);
	zassert_ok(rc, "i2c_write seek: %d", rc);
	rc = i2c_read(bus, read_buf, sizeof(read_buf), i2c_addr);
	zassert_ok(rc, "i2c_read: %d", rc);
	zassert_equal(read_buf[0], write_buf[1], "read[0]");
	zassert_equal(read_buf[1], write_buf[2], "read[1]");
}

/*
 * Helper: broadcast ENTHDR0 to put the bus in HDR-DDR entry mode. There is
 * no framework wrapper for ENTHDR0, so build the CCC payload directly.
 */
static int enthdr0_broadcast(const struct device *bus_dev)
{
	struct i3c_ccc_payload payload = {
		.ccc.id = I3C_CCC_ENTHDR0,
	};

	return i3c_do_ccc(bus_dev, &payload);
}

ZTEST(i3c_emul_core, test_hdr_ddr_xfer_routes_to_hdr_handler)
{
	struct i3c_device_desc *desc = find_desc(TARGET_D_PID);
	uint8_t write_buf[3] = {0x00, 0x77, 0x88};
	struct i3c_msg msg = {
		.buf = write_buf,
		.len = sizeof(write_buf),
		.flags = I3C_MSG_WRITE | I3C_MSG_HDR | I3C_MSG_STOP,
		.hdr_mode = I3C_MSG_HDR_DDR,
		.hdr_cmd_code = 0x12,
	};
	uint32_t before;
	int rc;

	zassert_not_null(desc, "target D desc");

	/*
	 * Per spec, an HDR-DDR private xfer is only legal after the
	 * controller broadcasts ENTHDR0 to put the bus in HDR-DDR entry
	 * mode. Without it, peripherals must reject the xfer.
	 */
	rc = enthdr0_broadcast(bus);
	zassert_ok(rc, "ENTHDR0 broadcast: %d", rc);

	before = test_target_get_hdr_ddr_xfer_count(target_d);
	rc = i3c_transfer(desc, &msg, 1);
	zassert_ok(rc, "i3c_transfer (HDR-DDR after ENTHDR0): %d", rc);
	zassert_equal(test_target_get_hdr_ddr_xfer_count(target_d), before + 1,
		      "peripheral's hdr_ddr_xfers callback should have fired");
}

ZTEST(i3c_emul_core, test_hdr_ddr_xfer_rejected_without_enthdr0)
{
	struct i3c_device_desc *desc = find_desc(TARGET_D_PID);
	uint8_t write_buf[2] = {0x00, 0xAA};
	struct i3c_msg msg = {
		.buf = write_buf,
		.len = sizeof(write_buf),
		.flags = I3C_MSG_WRITE | I3C_MSG_HDR | I3C_MSG_STOP,
		.hdr_mode = I3C_MSG_HDR_DDR,
		.hdr_cmd_code = 0x34,
	};
	uint32_t before;
	int rc;

	zassert_not_null(desc, "target D desc");

	/*
	 * No ENTHDR0 broadcast first. Bus emulator must reject the
	 * HDR-DDR xfer because the bus is still in SDR mode. Counter
	 * must NOT advance.
	 */
	before = test_target_get_hdr_ddr_xfer_count(target_d);
	rc = i3c_transfer(desc, &msg, 1);
	zassert_not_equal(rc, 0,
			  "HDR-DDR xfer without prior ENTHDR0 must be rejected");
	zassert_equal(test_target_get_hdr_ddr_xfer_count(target_d), before,
		      "peripheral's hdr_ddr_xfers callback must not fire");
}

ZTEST(i3c_emul_core, test_hdr_ddr_xfer_rejected_by_non_hdr_capable_target)
{
	struct i3c_device_desc *desc = find_desc(TARGET_A_PID);
	uint8_t write_buf[2] = {0x00, 0xAA};
	struct i3c_msg msg = {
		.buf = write_buf,
		.len = sizeof(write_buf),
		.flags = I3C_MSG_WRITE | I3C_MSG_HDR | I3C_MSG_STOP,
		.hdr_mode = I3C_MSG_HDR_DDR,
		.hdr_cmd_code = 0x12,
	};
	int rc;

	zassert_not_null(desc, "target A desc");

	/*
	 * Even after ENTHDR0, target A doesn't advertise HDR support
	 * (BCR bit 5 = Advanced Capabilities is clear in DT). The
	 * peripheral must reject the HDR-DDR xfer regardless of bus mode.
	 */
	rc = enthdr0_broadcast(bus);
	zassert_ok(rc, "ENTHDR0 broadcast: %d", rc);

	rc = i3c_transfer(desc, &msg, 1);
	zassert_not_equal(rc, 0,
			  "HDR-DDR to a non-HDR-capable target must fail");
}

ZTEST(i3c_emul_core, test_hdr_ddr_xfer_rejected_when_getcaps_lacks_hdr_ddr)
{
	struct i3c_device_desc *desc = find_desc(TARGET_E_PID);
	uint8_t write_buf[2] = {0x00, 0xAA};
	struct i3c_msg msg = {
		.buf = write_buf,
		.len = sizeof(write_buf),
		.flags = I3C_MSG_WRITE | I3C_MSG_HDR | I3C_MSG_STOP,
		.hdr_mode = I3C_MSG_HDR_DDR,
		.hdr_cmd_code = 0x12,
	};
	int rc;

	zassert_not_null(desc, "target E desc");

	/*
	 * Target E has BCR bit 5 set (Advanced Capabilities — controllers
	 * may issue GETCAPS), but no supports-hdr-ddr property. Its GETCAPS
	 * Format 1 response carries no HDR-mode bits. Bus emul must gate
	 * HDR-DDR on the cached GETCAPS bit, not just BCR — otherwise the
	 * BCR-only check above is too coarse and would let HDR-DDR through
	 * to a non-HDR-capable target that just happens to support GETCAPS.
	 */
	rc = enthdr0_broadcast(bus);
	zassert_ok(rc, "ENTHDR0 broadcast: %d", rc);

	rc = i3c_transfer(desc, &msg, 1);
	zassert_not_equal(rc, 0,
			  "HDR-DDR must be rejected when GETCAPS doesn't advertise it");
}

static void *i3c_emul_setup(void)
{
	int rc = test_target_bus_known_state(bus, TARGET_A_PID, TEST_TARGET_A_STATIC,
					     TARGET_B_PID, TARGET_B_INIT_DA);

	zassert_ok(rc, "test_target_bus_known_state: %d", rc);
	return NULL;
}

ZTEST_SUITE(i3c_emul_core, NULL, i3c_emul_setup, NULL, NULL, NULL);
```

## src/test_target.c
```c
/*
 * Copyright (c) 2026 Meta Platforms
 *
 * SPDX-License-Identifier: Apache-2.0
 *
 * Target-mode tests for the I3C emulator: register, basic write/read
 * callback invocation, target TX FIFO. Controller-handoff scenarios
 * live in test_controller_handoff.c.
 */

#include <zephyr/devicetree.h>
#include <zephyr/drivers/emul.h>
#include <zephyr/drivers/i3c.h>
#include <zephyr/drivers/i3c/target_device.h>
#include <zephyr/kernel.h>
#include <zephyr/sys/atomic.h>
#include <zephyr/ztest.h>

#include <string.h>

#include "test_target_emul.h"

#define I3C_BUS DT_NODELABEL(i3c0)
/*
 * Must match primary-controller-da in boards/native_sim.overlay — that's
 * the address the bus controller answers at in target mode, so xfers
 * from a shadow desc need to go there to land on our registered tcfg.
 */
#define TARGET_MODE_ADDR 0x55

static const struct device *bus = DEVICE_DT_GET(I3C_BUS);

static struct {
	atomic_t write_requested;
	atomic_t write_received_total;
	atomic_t read_requested;
	atomic_t read_processed;
	atomic_t stop;
	uint8_t last_write[16];
	uint8_t last_write_idx;
	uint8_t read_seq;
} g;

static int cb_write_requested(struct i3c_target_config *cfg)
{
	ARG_UNUSED(cfg);
	atomic_inc(&g.write_requested);
	g.last_write_idx = 0;
	return 0;
}

static int cb_write_received(struct i3c_target_config *cfg, uint8_t val)
{
	ARG_UNUSED(cfg);
	atomic_inc(&g.write_received_total);
	if (g.last_write_idx < sizeof(g.last_write)) {
		g.last_write[g.last_write_idx++] = val;
	}
	return 0;
}

static int cb_read_requested(struct i3c_target_config *cfg, uint8_t *val)
{
	ARG_UNUSED(cfg);
	atomic_inc(&g.read_requested);
	*val = g.read_seq++;
	return 0;
}

static int cb_read_processed(struct i3c_target_config *cfg, uint8_t *val)
{
	ARG_UNUSED(cfg);
	atomic_inc(&g.read_processed);
	*val = g.read_seq++;
	return 0;
}

static int cb_stop(struct i3c_target_config *cfg)
{
	ARG_UNUSED(cfg);
	atomic_inc(&g.stop);
	return 0;
}

static const struct i3c_target_callbacks tcb = {
	.write_requested_cb = cb_write_requested,
	.write_received_cb = cb_write_received,
	.read_requested_cb = cb_read_requested,
	.read_processed_cb = cb_read_processed,
	.stop_cb = cb_stop,
};

static struct i3c_target_config tcfg = {
	.callbacks = &tcb,
};

static struct i3c_device_desc shadow_desc;

static void *target_setup(void)
{
	int rc = test_target_bus_known_state(bus, TEST_TARGET_A_PID, TEST_TARGET_A_STATIC,
					     TEST_TARGET_B_PID, TEST_TARGET_B_INIT_DA);

	zassert_ok(rc, "test_target_bus_known_state: %d", rc);

	shadow_desc.bus = bus;
	shadow_desc.dynamic_addr = TARGET_MODE_ADDR;
	return NULL;
}

static void target_before(void *fixture)
{
	ARG_UNUSED(fixture);
	atomic_set(&g.write_requested, 0);
	atomic_set(&g.write_received_total, 0);
	atomic_set(&g.read_requested, 0);
	atomic_set(&g.read_processed, 0);
	atomic_set(&g.stop, 0);
	g.last_write_idx = 0;
	g.read_seq = 0xA0;
	memset(g.last_write, 0, sizeof(g.last_write));
}

ZTEST(i3c_emul_target, test_register_then_xfer_invokes_callbacks)
{
	uint8_t out[3] = {0xAA, 0xBB, 0xCC};
	uint8_t in[2] = {0};
	struct i3c_msg msgs[2] = {
		{ .buf = out, .len = sizeof(out), .flags = I3C_MSG_WRITE | I3C_MSG_STOP },
		{ .buf = in, .len = sizeof(in), .flags = I3C_MSG_READ | I3C_MSG_STOP },
	};
	int rc;

	rc = i3c_target_register(bus, &tcfg);
	zassert_ok(rc, "target_register: %d", rc);

	rc = i3c_transfer(&shadow_desc, &msgs[0], 1);
	zassert_ok(rc, "write transfer: %d", rc);
	zassert_equal(atomic_get(&g.write_requested), 1, "write_requested fired");
	zassert_equal(atomic_get(&g.write_received_total), 3, "write_received per byte");
	zassert_mem_equal(g.last_write, out, sizeof(out), "bytes match");
	zassert_equal(atomic_get(&g.stop), 1, "stop fired");

	rc = i3c_transfer(&shadow_desc, &msgs[1], 1);
	zassert_ok(rc, "read transfer: %d", rc);
	zassert_equal(atomic_get(&g.read_requested), 1, "read_requested fired");
	zassert_equal(atomic_get(&g.read_processed), 1, "read_processed fired");
	zassert_equal(in[0], 0xA0, "first byte from cb");
	zassert_equal(in[1], 0xA1, "second byte from cb");

	rc = i3c_target_unregister(bus, &tcfg);
	zassert_ok(rc, "target_unregister: %d", rc);
}

ZTEST(i3c_emul_target, test_target_tx_write_fifo)
{
	uint8_t pushed[4] = {0x10, 0x20, 0x30, 0x40};
	uint8_t in[4] = {0};
	struct i3c_msg msg = {
		.buf = in, .len = sizeof(in), .flags = I3C_MSG_READ | I3C_MSG_STOP,
	};
	int rc;

	rc = i3c_target_register(bus, &tcfg);
	zassert_ok(rc, "target_register: %d", rc);

	rc = i3c_target_tx_write(bus, pushed, sizeof(pushed), 0);
	zassert_equal(rc, sizeof(pushed), "tx_write returned %d", rc);

	rc = i3c_transfer(&shadow_desc, &msg, 1);
	zassert_ok(rc, "read transfer: %d", rc);
	zassert_mem_equal(in, pushed, sizeof(pushed), "FIFO bytes consumed");
	zassert_equal(atomic_get(&g.read_requested), 0,
		      "read_requested should not fire when FIFO satisfies the whole msg");

	(void)i3c_target_unregister(bus, &tcfg);
}

ZTEST_SUITE(i3c_emul_target, NULL, target_setup, target_before, NULL, NULL);
```
